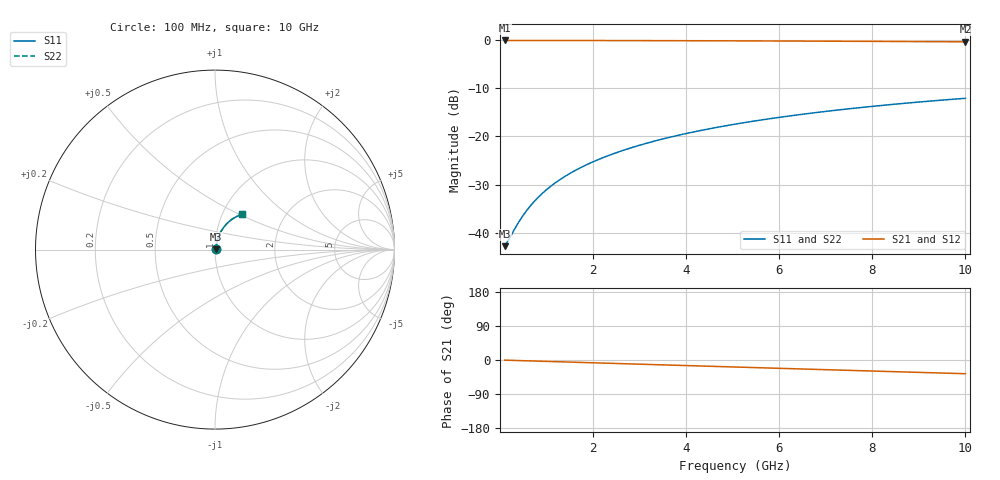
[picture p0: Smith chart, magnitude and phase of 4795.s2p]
# Hz S RI R 50.00
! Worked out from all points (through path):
!   100 points, 100 MHz to 10 GHz, reference 50 ohm
!   highest |S21| = -0.06 dB at 100 MHz (marker M1); lowest = -0.3 dB at 10 GHz (marker M2)
!   group delay of S21, straight-line fit = 10.1 ps
!   lowest |S11| = -42.8 dB at 100 MHz (marker M3), VSWR 1.01, Z = 50.7 + j0.271 ohm
!   |S11| at or under -10 dB: start of sweep to end of sweep
!   |S22| runs from -42.8 to -12.1 dB; largest |S21 - S12| = 0
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1e8  0.00674 0.00267  0.9932 -0.00638  0.9932 -0.00638  0.00674 0.00267
2e8  0.00684 0.00534  0.9931 -0.0128  0.9931 -0.0128  0.00684 0.00534
4e8  0.0071 0.0107  0.9928 -0.0255  0.9928 -0.0255  0.0071 0.0107
5e8  0.00728 0.0133  0.9925 -0.0319  0.9925 -0.0319  0.00728 0.0133
6e8  0.00748 0.016  0.9922 -0.0383  0.9922 -0.0383  0.00748 0.016
7e8  0.00772 0.0187  0.9919 -0.0446  0.9919 -0.0446  0.00772 0.0187
8e8  0.008 0.0213  0.9915 -0.051  0.9915 -0.051  0.008 0.0213
1e9  0.00864 0.0266  0.9906 -0.0637  0.9906 -0.0637  0.00864 0.0266
1.2e9  0.00942 0.0319  0.9895 -0.0764  0.9895 -0.0764  0.00942 0.0319
1.5e9  0.0108 0.0398  0.9876 -0.0955  0.9876 -0.0955  0.0108 0.0398
1.8e9  0.0125 0.0476  0.9851 -0.1144  0.9851 -0.1144  0.0125 0.0476
2.1e9  0.0146 0.0553  0.9823 -0.1333  0.9823 -0.1333  0.0146 0.0553
2.5e9  0.0177 0.0655  0.9779 -0.1583  0.9779 -0.1583  0.0177 0.0655
2.9e9  0.0213 0.0755  0.9727 -0.1831  0.9727 -0.1831  0.0213 0.0755
3.4e9  0.0266 0.0876  0.9653 -0.2139  0.9653 -0.2139  0.0266 0.0876
4.2e9  0.0366 0.1063  0.951 -0.2622  0.951 -0.2622  0.0366 0.1063
5.1e9  0.0499 0.1258  0.9317 -0.3152  0.9317 -0.3152  0.0499 0.1258
5.9e9  0.0636 0.1418  0.9119 -0.3608  0.9119 -0.3608  0.0636 0.1418
6.7e9  0.0786 0.1562  0.8896 -0.4049  0.8896 -0.4049  0.0786 0.1562
7.5e9  0.095 0.1689  0.8651 -0.4472  0.8651 -0.4472  0.095 0.1689
8.4e9  0.1147 0.1812  0.8351 -0.4927  0.8351 -0.4927  0.1147 0.1812
1e10  0.1523 0.1971  0.776 -0.5675  0.776 -0.5675  0.1523 0.1971
